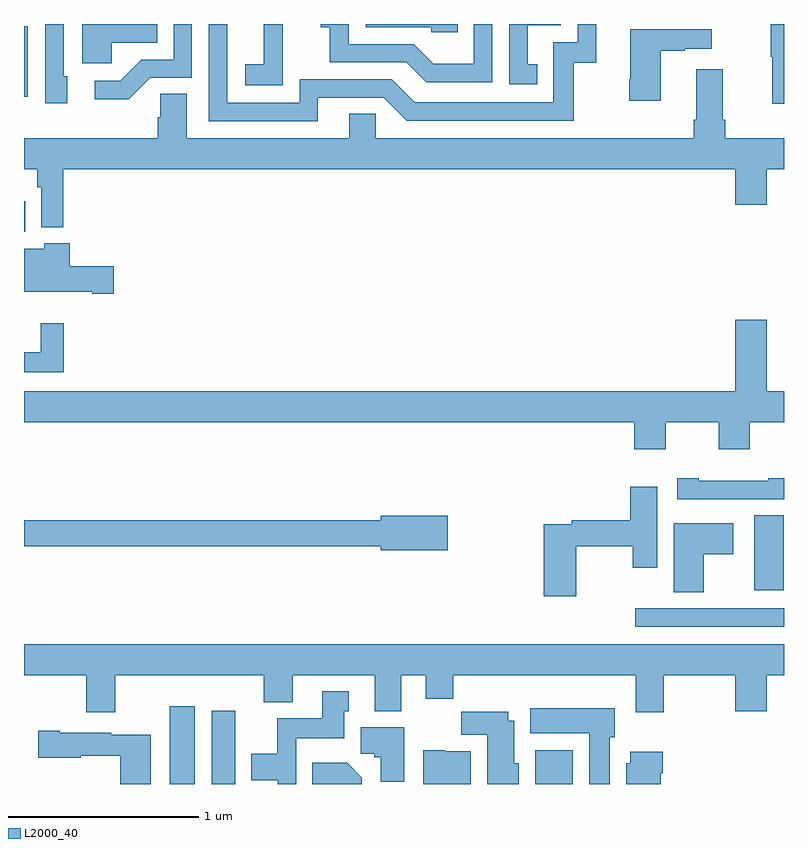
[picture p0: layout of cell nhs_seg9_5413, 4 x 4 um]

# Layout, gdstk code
import gdstk
lib = gdstk.Library(unit=1e-6, precision=1e-09)
def R(c, l, rs):  # rectangles x0, y0, x1, y1
    for r in rs: c.add(gdstk.rectangle(r[:2], r[2:], *l))
def P(c, l, *ps):  # polygons
    for p in ps: c.add(gdstk.Polygon(p, *l))
L2000_40 = (2000, 40)

nhs_seg9_5413 = lib.new_cell('nhs_seg9_5413')
R(nhs_seg9_5413, L2000_40, [(425.768,1210.5,425.899,1210.909), (425.987,1210.5,426.112,1210.885), (427.691,1210.5,427.888,1210.678), (428.217,1211.328,429,1211.424), (428.843,1211.52,428.998,1211.915), (425,1213.406,425.006,1213.567), (425,1214.118,425.019,1214.488)])
P(nhs_seg9_5413, L2000_40, [(425.664,1214.217),(425.883,1214.217),(425.883,1214.5),(425.787,1214.5),(425.787,1214.313),(425.618,1214.313),(425.507,1214.202),(425.373,1214.202),(425.373,1214.105),(425.551,1214.105)],
  [(429,1214.5),(428.931,1214.5),(428.931,1214.328),(428.938,1214.328),(428.938,1214.079),(429,1214.079)],
  [(427.7,1214.289),(427.651,1214.289),(427.651,1214.493),(427.824,1214.493),(427.824,1214.5),(427.554,1214.5),(427.554,1214.184),(427.7,1214.184)],
  [(425.227,1214.226),(425.208,1214.226),(425.208,1214.5),(425.112,1214.5),(425.112,1214.082),(425.227,1214.082)],
  [(427.464,1214.5),(427.368,1214.5),(427.368,1214.29),(427.154,1214.29),(427.05,1214.394),(426.708,1214.394),(426.708,1214.5),(426.561,1214.5),(426.561,1214.483),(426.61,1214.483),(426.61,1214.298),(427.013,1214.298),(427.118,1214.193),(427.464,1214.193)],
  [(426.547,1214.112),(426.894,1214.112),(427.014,1213.992),(427.894,1213.992),(427.894,1214.295),(428.012,1214.295),(428.012,1214.5),(427.914,1214.5),(427.914,1214.403),(427.785,1214.403),(427.785,1214.088),(427.056,1214.088),(426.936,1214.208),(426.45,1214.208),(426.45,1214.085),(426.069,1214.085),(426.069,1214.5),(425.973,1214.5),(425.973,1213.989),(426.547,1213.989)],
  [(426.363,1214.383),(426.362,1214.383),(426.362,1214.5),(426.263,1214.5),(426.263,1214.287),(426.165,1214.287),(426.165,1214.177),(426.363,1214.177)],
  [(425.463,1214.402),(425.702,1214.402),(425.702,1214.5),(425.306,1214.5),(425.306,1214.294),(425.463,1214.294)],
  [(427.283,1214.5),(426.798,1214.5),(426.798,1214.484),(427.143,1214.484),(427.143,1214.457),(427.283,1214.457)],
  [(428.35,1214.359),(428.477,1214.359),(428.477,1214.369),(428.62,1214.369),(428.62,1214.473),(428.192,1214.473),(428.192,1214.209),(428.185,1214.209),(428.185,1214.097),(428.35,1214.097)],
  [(425.207,1213.736),(428.744,1213.736),(428.744,1213.548),(428.908,1213.548),(428.908,1213.736),(429,1213.736),(429,1213.9),(428.69,1213.9),(428.69,1213.996),(428.677,1213.996),(428.677,1214.263),(428.537,1214.263),(428.537,1213.996),(428.525,1213.996),(428.525,1213.9),(426.852,1213.9),(426.852,1214.027),(426.713,1214.027),(426.713,1213.9),(425.857,1213.9),(425.857,1214.132),(425.718,1214.132),(425.718,1214.009),(425.705,1214.009),(425.705,1213.9),(425,1213.9),(425,1213.736),(425.071,1213.736),(425.071,1213.64),(425.091,1213.64),(425.091,1213.43),(425.207,1213.43)],
  [(425.473,1213.226),(425.24,1213.226),(425.24,1213.345),(425.106,1213.345),(425.106,1213.318),(425,1213.318),(425,1213.091),(425.36,1213.091),(425.36,1213.079),(425.473,1213.079)],
  [(428.377,1212.404),(428.657,1212.404),(428.657,1212.261),(428.821,1212.261),(428.821,1212.404),(429,1212.404),(429,1212.568),(428.908,1212.568),(428.908,1212.943),(428.744,1212.943),(428.744,1212.568),(425,1212.568),(425,1212.404),(428.213,1212.404),(428.213,1212.261),(428.377,1212.261)],
  [(425.209,1212.925),(425.087,1212.925),(425.087,1212.772),(425,1212.772),(425,1212.668),(425.209,1212.668)],
  [(429,1212.109),(428.917,1212.109),(428.917,1212.097),(428.551,1212.097),(428.551,1212.109),(428.439,1212.109),(428.439,1212),(429,1212)],
  [(427.906,1211.752),(428.204,1211.752),(428.204,1211.637),(428.332,1211.637),(428.332,1212.064),(428.192,1212.064),(428.192,1211.888),(427.882,1211.888),(427.882,1211.868),(427.736,1211.868),(427.736,1211.487),(427.906,1211.487)],
  [(427.231,1211.912),(426.878,1211.912),(426.878,1211.888),(425,1211.888),(425,1211.752),(426.878,1211.752),(426.878,1211.729),(427.231,1211.729)],
  [(428.578,1211.708),(428.734,1211.708),(428.734,1211.872),(428.42,1211.872),(428.42,1211.509),(428.578,1211.509)],
  [(425.479,1211.072),(426.263,1211.072),(426.263,1210.931),(426.415,1210.931),(426.415,1211.072),(426.845,1211.072),(426.845,1210.883),(426.985,1210.883),(426.985,1211.072),(427.115,1211.072),(427.115,1210.948),(427.259,1210.948),(427.259,1211.072),(428.219,1211.072),(428.219,1210.878),(428.367,1210.878),(428.367,1211.072),(428.744,1211.072),(428.744,1210.884),(428.908,1210.884),(428.908,1211.072),(429,1211.072),(429,1211.236),(425,1211.236),(425,1211.072),(425.327,1211.072),(425.327,1210.878),(425.479,1210.878)],
  [(426.432,1210.742),(426.685,1210.742),(426.685,1210.884),(426.709,1210.884),(426.709,1210.987),(426.569,1210.987),(426.569,1210.846),(426.334,1210.846),(426.334,1210.66),(426.197,1210.66),(426.197,1210.52),(426.336,1210.52),(426.336,1210.5),(426.432,1210.5)],
  [(428.083,1210.746),(428.11,1210.746),(428.11,1210.9),(427.664,1210.9),(427.664,1210.766),(427.976,1210.766),(427.976,1210.5),(428.083,1210.5)],
  [(427.603,1210.608),(427.579,1210.608),(427.579,1210.834),(427.549,1210.834),(427.549,1210.879),(427.3,1210.879),(427.3,1210.76),(427.439,1210.76),(427.439,1210.5),(427.603,1210.5)],
  [(427,1210.798),(426.773,1210.798),(426.773,1210.66),(426.843,1210.66),(426.843,1210.642),(426.878,1210.642),(426.878,1210.512),(427,1210.512)],
  [(425.668,1210.759),(425.46,1210.759),(425.46,1210.771),(425.188,1210.771),(425.188,1210.779),(425.076,1210.779),(425.076,1210.637),(425.298,1210.637),(425.298,1210.649),(425.506,1210.649),(425.506,1210.5),(425.668,1210.5)],
  [(427.351,1210.672),(427.218,1210.672),(427.218,1210.678),(427.1,1210.678),(427.1,1210.5),(427.351,1210.5)],
  [(428.35,1210.556),(428.363,1210.556),(428.363,1210.669),(428.192,1210.669),(428.192,1210.608),(428.171,1210.608),(428.171,1210.5),(428.35,1210.5)],
  [(426.778,1210.534),(426.7,1210.612),(426.517,1210.612),(426.517,1210.5),(426.778,1210.5)])

lib.write_gds('nhs_seg9_5413.gds')
